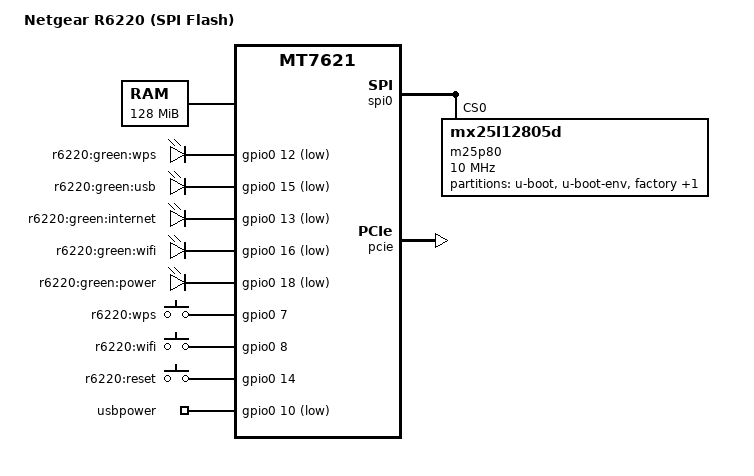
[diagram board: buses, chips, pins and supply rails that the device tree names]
/dts-v1/;

#include "mt7621.dtsi"

/ {
	compatible = "mediatek,mt7621-eval-board","ralink,mt7621-soc";
	model = "Netgear R6220 (SPI Flash)";

	cpus {
		/delete-node/ cpu@1;
	};

	memory@0 {
		device_type = "memory";
		reg = <0x0 0x8000000>;
	};

	chosen {
		bootargs = "console=ttyS0,115200 maxcpus=1";
	};

	gpio-leds {
		compatible = "gpio-leds";

		wps {
			label = "r6220:green:wps";
			gpios = <&gpio0 12 1>;
		};

		usb {
			label = "r6220:green:usb";
			gpios = <&gpio0 15 1>;
		};

		internet {
			label = "r6220:green:internet";
			gpios = <&gpio0 13 1>;
		};

		wifi {
			label = "r6220:green:wifi";
			gpios = <&gpio0 16 1>;
		};

		power {
			label = "r6220:green:power";
			gpios = <&gpio0 18 1>;
		};
	};

	gpio-keys-polled {
		compatible = "gpio-keys-polled";
		#address-cells = <1>;
		#size-cells = <0>;
		poll-interval = <20>;

		wps {
			label = "r6220:wps";
			gpios = <&gpio0 7 0>;
			linux,code = <0x211>;
		};

		wifi {
			label = "r6220:wifi";
			gpios = <&gpio0 8 0>;
			linux,code = <0xf7>;
		};

		reset {
			label = "r6220:reset";
			gpios = <&gpio0 14 0>;
			linux,code = <0x198>;
		};
	};

	gpio_export {
		compatible = "gpio-export";
		#size-cells = <0>;

		usbpower {
			gpio-export,name = "usbpower";
			gpio-export,output = <1>;
			gpios = <&gpio0 10 1>;
		};
	};
};

&spi0 {
	status = "okay";

	m25p80@0 {
		#address-cells = <1>;
		#size-cells = <1>;
		compatible = "mx25l12805d";
		reg = <0>;
		linux,modalias = "m25p80", "w25q128";
		spi-max-frequency = <10000000>;

		partition@0 {
			label = "u-boot";
			reg = <0x0 0x30000>;
		};

		partition@30000 {
			label = "u-boot-env";
			reg = <0x30000 0x10000>;
			read-only;
		};

		factory: partition@40000 {
			label = "factory";
			reg = <0x40000 0x10000>;
			read-only;
		};

		partition@50000 {
			label = "firmware";
			reg = <0x50000 0xfb0000>;
		};
	};
};

&pcie {
	status = "okay";

	pcie0 {
		mt76@0,0 {
			reg = <0x0000 0 0 0 0>;
			device_type = "pci";
			mediatek,mtd-eeprom = <&factory 0x0000>;
			mediatek,2ghz = <0>;
		};
	};

	pcie2 {
		mt76@2,0 {
			reg = <0x1000 0 0 0 0>;
			device_type = "pci";
			mediatek,mtd-eeprom = <&factory 0x8000>;
			mediatek,5ghz = <0>;
		};
	};
};

&ethernet {
	mtd-mac-address = <&factory 0x00000004>;
};

&pinctrl {
	state_default: pinctrl0 {
		gpio {
			ralink,group =  "rgmii2", "mdio", "wdt";
			ralink,function = "gpio";
		};
	};
};
